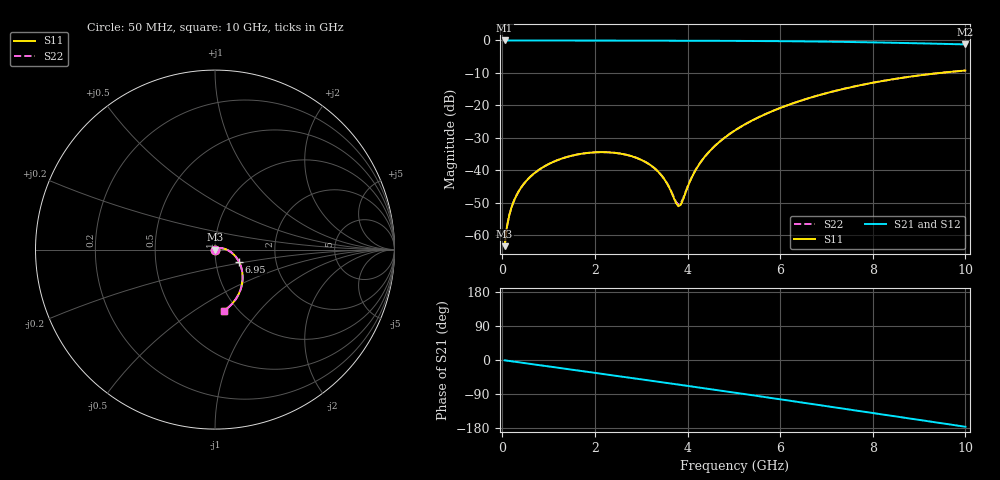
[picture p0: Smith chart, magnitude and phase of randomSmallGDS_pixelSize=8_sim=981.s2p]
! freq	dB(S11)	phase(S11)	dB(S12)	phase(S12)
!  dB(S21)	phase(S21)	dB(S22)	phase(S22)
!S-par simulation data
#  GHz  S  DB  R 50
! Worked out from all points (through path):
!   200 points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, 50 MHz to 10 GHz, reference 50 ohm
!   highest |S21| = 0.00 dB at 50 MHz (marker M1); lowest = -1.2 dB at 10 GHz (marker M2)
!   group delay of S21, straight-line fit = 49.1 ps
!   lowest |S11| = -63.4 dB at 50 MHz (marker M3), VSWR 1.00, Z = 50 - j0.0675 ohm
!   |S11| at or under -10 dB: start of sweep to 9.459 GHz
!   |S22| runs from -63.4 to -9.3 dB; largest |S21 - S12| = 0
!   S11 on the Smith chart (normalised r, x): 50 MHz: 1.00, -0.00; 6.95 GHz: 1.30, -0.18; 10 GHz: 0.86, -0.67
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0.05  -63.41 -88.6  -0.00 -0.9  -0.00 -0.9  -63.41 -88.6
0.1  -57.40 -90.7  -0.00 -1.7  -0.00 -1.7  -57.40 -90.7
0.2  -51.40 -93.1  -0.00 -3.4  -0.00 -3.4  -51.40 -93.1
0.35  -46.60 -96.2  -0.01 -6.0  -0.01 -6.0  -46.60 -96.2
0.5  -43.59 -99.0  -0.01 -8.5  -0.01 -8.5  -43.59 -99.0
1  -38.10 -108.4  -0.02 -17.0  -0.02 -17.0  -38.10 -108.4
1.75  -34.84 -122.3  -0.03 -29.7  -0.03 -29.7  -34.84 -122.4
2.75  -35.50 -142.5  -0.05 -46.7  -0.05 -46.7  -35.50 -142.7
3.1  -37.53 -151.4  -0.06 -52.7  -0.06 -52.7  -37.52 -151.8
3.4  -40.96 -162.8  -0.07 -57.9  -0.07 -57.9  -40.94 -163.5
3.6  -45.20 -178.7  -0.07 -61.3  -0.07 -61.3  -45.11 -179.9
3.75  -50.05 147.6  -0.08 -63.9  -0.08 -63.9  -49.72 146.2
3.85  -50.72 100.0  -0.08 -65.7  -0.08 -65.7  -50.30 100.6
4.1  -41.95 43.1  -0.09 -70.0  -0.09 -70.0  -41.87 44.2
4.3  -37.19 30.7  -0.10 -73.5  -0.10 -73.5  -37.16 31.5
4.6  -32.38 20.5  -0.11 -78.7  -0.11 -78.7  -32.37 21.0
5.05  -27.48 9.6  -0.14 -86.7  -0.14 -86.7  -27.48 10.0
5.8  -21.97 -5.6  -0.20 -100.1  -0.20 -100.1  -21.97 -5.3
6.7  -17.44 -22.6  -0.31 -116.3  -0.31 -116.3  -17.43 -22.4
6.95  -16.43 -27.2  -0.36 -120.9  -0.36 -120.9  -16.43 -27.1
8.35  -12.15 -52.8  -0.68 -146.5  -0.68 -146.5  -12.15 -52.6
10  -9.27 -81.7  -1.22 -176.2  -1.22 -176.2  -9.27 -81.6
